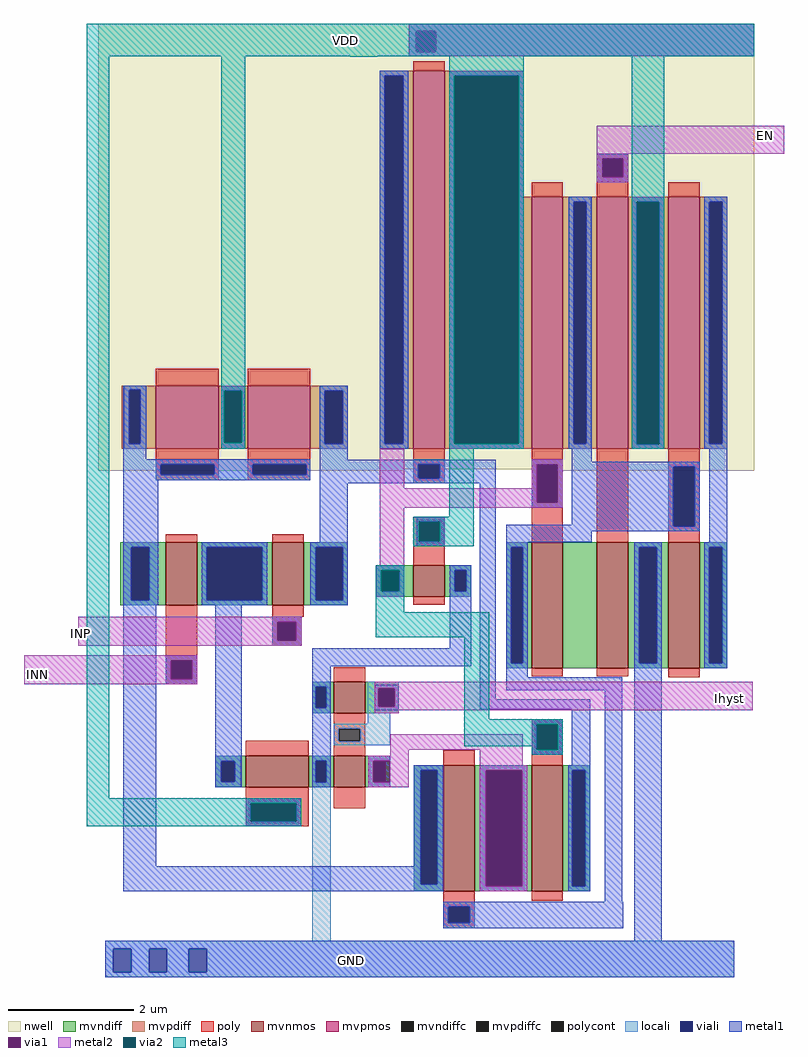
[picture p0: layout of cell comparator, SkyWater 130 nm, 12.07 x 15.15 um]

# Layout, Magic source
magic
tech sky130A
<< nwell >>
rect -243 102 799 810
rect -243 100 243 102
rect 445 100 799 102
<< mvnmos >>
rect -136 -114 -86 -14
rect 33 -114 83 -14
rect 257 -100 307 -50
rect 445 -214 495 -14
rect 549 -214 599 -14
rect 662 -214 712 -14
rect 131 -285 181 -235
rect -9 -403 91 -353
rect 131 -403 181 -353
rect 305 -568 355 -368
rect 445 -568 495 -368
<< mvpmos >>
rect -152 135 -52 235
rect -6 135 94 235
rect 257 135 307 735
rect 445 135 495 535
rect 549 135 599 535
rect 662 135 712 535
<< mvndiff >>
rect -208 -22 -136 -14
rect -208 -106 -191 -22
rect -162 -106 -136 -22
rect -208 -114 -136 -106
rect -86 -22 33 -14
rect -86 -106 -71 -22
rect 17 -106 33 -22
rect -86 -114 33 -106
rect 83 -22 153 -14
rect 83 -106 102 -22
rect 145 -106 153 -22
rect 405 -22 445 -14
rect 198 -58 257 -50
rect 198 -92 206 -58
rect 235 -92 257 -58
rect 198 -100 257 -92
rect 307 -58 349 -50
rect 307 -92 323 -58
rect 341 -92 349 -58
rect 307 -100 349 -92
rect 83 -114 153 -106
rect 405 -206 413 -22
rect 431 -206 445 -22
rect 405 -214 445 -206
rect 495 -214 549 -14
rect 599 -22 662 -14
rect 599 -206 616 -22
rect 644 -206 662 -22
rect 599 -214 662 -206
rect 712 -22 756 -14
rect 712 -206 727 -22
rect 748 -206 756 -22
rect 712 -214 756 -206
rect 97 -243 131 -235
rect 97 -277 102 -243
rect 119 -277 131 -243
rect 97 -285 131 -277
rect 181 -246 234 -235
rect 181 -275 202 -246
rect 228 -275 234 -246
rect 181 -285 234 -275
rect -57 -362 -9 -353
rect -57 -394 -48 -362
rect -26 -394 -9 -362
rect -57 -403 -9 -394
rect 91 -361 131 -353
rect 91 -395 102 -361
rect 119 -395 131 -361
rect 91 -403 131 -395
rect 181 -361 221 -353
rect 181 -395 194 -361
rect 213 -395 221 -361
rect 181 -403 221 -395
rect 258 -376 305 -368
rect 258 -557 269 -376
rect 295 -557 305 -376
rect 258 -568 305 -557
rect 355 -376 445 -368
rect 355 -560 372 -376
rect 430 -560 445 -376
rect 355 -568 445 -560
rect 495 -376 538 -368
rect 495 -560 510 -376
rect 530 -560 538 -376
rect 495 -568 538 -560
<< mvpdiff >>
rect 204 727 257 735
rect -206 228 -152 235
rect -206 143 -194 228
rect -176 143 -152 228
rect -206 135 -152 143
rect -52 227 -6 235
rect -52 144 -43 227
rect -15 144 -6 227
rect -52 135 -6 144
rect 94 227 153 235
rect 94 143 117 227
rect 145 143 153 227
rect 94 135 153 143
rect 204 143 212 727
rect 241 143 257 727
rect 204 135 257 143
rect 307 727 433 735
rect 307 143 322 727
rect 425 535 433 727
rect 425 143 445 535
rect 307 135 445 143
rect 495 527 549 535
rect 495 143 512 527
rect 532 143 549 527
rect 495 135 549 143
rect 599 527 662 535
rect 599 142 612 527
rect 648 142 662 527
rect 599 135 662 142
rect 712 527 756 535
rect 712 143 727 527
rect 748 143 756 527
rect 712 135 756 143
<< mvndiffc >>
rect -191 -106 -162 -22
rect -71 -106 17 -22
rect 102 -106 145 -22
rect 206 -92 235 -58
rect 323 -92 341 -58
rect 413 -206 431 -22
rect 616 -206 644 -22
rect 727 -206 748 -22
rect 102 -277 119 -243
rect 202 -275 228 -246
rect -48 -394 -26 -362
rect 102 -395 119 -361
rect 194 -395 213 -361
rect 269 -557 295 -376
rect 372 -560 430 -376
rect 510 -560 530 -376
<< mvpdiffc >>
rect -194 143 -176 228
rect -43 144 -15 227
rect 117 143 145 227
rect 212 143 241 727
rect 322 143 425 727
rect 512 143 532 527
rect 612 142 648 527
rect 727 143 748 527
<< poly >>
rect 257 735 307 750
rect -152 235 -52 262
rect -6 235 94 262
rect 549 596 599 603
rect 549 566 557 596
rect 591 566 599 596
rect 445 535 495 558
rect 549 535 599 566
rect 662 535 712 558
rect -152 110 -52 135
rect -152 93 -144 110
rect -59 93 -52 110
rect -152 85 -52 93
rect -6 110 94 135
rect -6 93 2 110
rect 87 93 94 110
rect -6 85 94 93
rect 257 110 307 135
rect 257 88 265 110
rect 299 88 307 110
rect 257 80 307 88
rect 445 110 495 135
rect 445 49 453 110
rect 487 49 495 110
rect 257 19 307 27
rect -136 -14 -86 -1
rect 33 -14 83 -1
rect 257 -12 266 19
rect 299 -12 307 19
rect 257 -50 307 -12
rect 445 -14 495 49
rect 549 -14 599 135
rect 662 106 712 135
rect 662 12 670 106
rect 704 12 712 106
rect 662 -14 712 12
rect 257 -113 307 -100
rect -136 -201 -86 -114
rect 33 -132 83 -114
rect 33 -140 80 -132
rect 33 -170 41 -140
rect 71 -170 80 -140
rect 33 -178 80 -170
rect -136 -231 -128 -201
rect -94 -231 -86 -201
rect -136 -239 -86 -231
rect 131 -235 181 -212
rect 445 -227 495 -214
rect 549 -227 599 -214
rect 662 -228 712 -214
rect 131 -310 181 -285
rect -9 -353 91 -329
rect 131 -330 139 -310
rect 173 -330 181 -310
rect 131 -353 181 -330
rect 445 -303 495 -295
rect 445 -343 453 -303
rect 487 -343 495 -303
rect 305 -368 355 -344
rect 445 -368 495 -343
rect -9 -428 91 -403
rect -9 -457 -1 -428
rect 71 -457 91 -428
rect 131 -436 181 -403
rect -9 -465 91 -457
rect 305 -593 355 -568
rect 445 -583 495 -568
rect 305 -618 313 -593
rect 347 -618 355 -593
rect 305 -627 355 -618
<< polycont >>
rect 557 566 591 596
rect -144 93 -59 110
rect 2 93 87 110
rect 265 88 299 110
rect 453 49 487 110
rect 266 -12 299 19
rect 670 12 704 106
rect 41 -170 71 -140
rect -128 -231 -94 -201
rect 139 -330 173 -310
rect 453 -343 487 -303
rect -1 -457 71 -428
rect 313 -618 347 -593
<< locali >>
rect 250 798 799 810
rect 250 765 262 798
rect 293 765 799 798
rect 250 758 799 765
rect 204 727 249 735
rect -202 228 -167 235
rect -202 143 -194 228
rect -176 143 -167 228
rect -202 135 -167 143
rect -48 227 -10 235
rect -48 144 -43 227
rect -15 144 -10 227
rect -48 135 -10 144
rect 109 227 153 235
rect 109 143 117 227
rect 145 143 153 227
rect 109 135 153 143
rect 204 143 212 727
rect 241 143 249 727
rect 204 135 249 143
rect 314 727 433 735
rect 314 143 322 727
rect 425 143 433 727
rect 549 596 599 603
rect 549 566 557 596
rect 591 566 599 596
rect 549 558 599 566
rect 314 135 433 143
rect 504 527 540 535
rect 504 143 512 527
rect 532 143 540 527
rect 504 135 540 143
rect 604 527 656 535
rect 604 142 612 527
rect 648 142 656 527
rect 604 135 656 142
rect 719 527 756 535
rect 719 143 727 527
rect 748 143 756 527
rect 719 135 756 143
rect -152 110 94 118
rect -152 93 -144 110
rect -59 93 2 110
rect 87 93 94 110
rect -152 85 94 93
rect 257 110 307 118
rect 257 88 265 110
rect 299 88 307 110
rect 257 80 307 88
rect 445 110 495 118
rect 445 49 453 110
rect 487 49 495 110
rect 445 41 495 49
rect 662 106 712 114
rect 257 19 307 27
rect 257 -12 266 19
rect 299 -12 307 19
rect 662 12 670 106
rect 704 12 712 106
rect 662 4 712 12
rect -203 -22 -148 -14
rect -203 -106 -191 -22
rect -162 -106 -148 -22
rect -203 -114 -148 -106
rect -79 -22 25 -14
rect -79 -106 -71 -22
rect 17 -106 25 -22
rect -79 -114 25 -106
rect 94 -22 153 -14
rect 257 -20 307 -12
rect 94 -106 102 -22
rect 145 -106 153 -22
rect 405 -22 439 -14
rect 198 -58 243 -50
rect 198 -92 206 -58
rect 235 -92 243 -58
rect 198 -100 243 -92
rect 315 -58 349 -50
rect 315 -92 323 -58
rect 341 -92 349 -58
rect 315 -100 349 -92
rect 94 -114 153 -106
rect 33 -140 80 -132
rect 33 -170 41 -140
rect 71 -170 80 -140
rect 33 -178 80 -170
rect -136 -201 -86 -193
rect -136 -231 -128 -201
rect -94 -231 -86 -201
rect 405 -206 413 -22
rect 431 -206 439 -22
rect 405 -214 439 -206
rect 608 -22 652 -14
rect 608 -206 616 -22
rect 644 -206 652 -22
rect 608 -214 652 -206
rect 719 -22 756 -14
rect 719 -206 727 -22
rect 748 -206 756 -22
rect 719 -214 756 -206
rect -136 -239 -86 -231
rect 97 -243 125 -235
rect 97 -277 102 -243
rect 119 -277 125 -243
rect 97 -285 125 -277
rect 185 -246 234 -235
rect 185 -275 202 -246
rect 228 -275 234 -246
rect 185 -285 234 -275
rect 185 -302 221 -285
rect 131 -310 221 -302
rect 131 -330 139 -310
rect 173 -330 221 -310
rect 131 -336 221 -330
rect 445 -303 495 -295
rect 445 -343 453 -303
rect 487 -343 495 -303
rect 445 -351 495 -343
rect -57 -362 -17 -353
rect -57 -394 -48 -362
rect -26 -394 -17 -362
rect -57 -403 -17 -394
rect 97 -361 126 -353
rect 97 -395 102 -361
rect 119 -395 126 -361
rect -9 -428 79 -420
rect -9 -457 -1 -428
rect 71 -457 79 -428
rect -9 -465 79 -457
rect 97 -647 126 -395
rect 186 -361 221 -353
rect 186 -395 194 -361
rect 213 -395 221 -361
rect 186 -403 221 -395
rect 258 -376 305 -368
rect 258 -557 269 -376
rect 295 -557 305 -376
rect 258 -568 305 -557
rect 363 -376 438 -368
rect 363 -560 372 -376
rect 430 -560 438 -376
rect 363 -568 438 -560
rect 503 -376 538 -368
rect 503 -560 510 -376
rect 530 -560 538 -376
rect 503 -568 538 -560
rect 305 -593 355 -585
rect 305 -618 313 -593
rect 347 -618 355 -593
rect 305 -627 355 -618
rect -232 -659 767 -647
rect -232 -697 -219 -659
rect -191 -697 -162 -659
rect -134 -697 -99 -659
rect -71 -697 767 -659
rect -232 -705 767 -697
<< viali >>
rect 262 765 293 798
rect -194 143 -176 228
rect -43 144 -15 227
rect 117 143 145 227
rect 212 143 241 727
rect 322 143 425 727
rect 557 566 591 596
rect 512 143 532 527
rect 612 142 648 527
rect 727 143 748 527
rect -144 93 -59 110
rect 2 93 87 110
rect 265 88 299 110
rect 453 49 487 110
rect 266 -12 299 19
rect 670 12 704 106
rect -191 -106 -162 -22
rect -71 -106 17 -22
rect 102 -106 145 -22
rect 206 -92 235 -58
rect 323 -92 341 -58
rect 41 -170 71 -140
rect -128 -231 -94 -201
rect 413 -206 431 -22
rect 616 -206 644 -22
rect 727 -206 748 -22
rect 102 -277 119 -243
rect 202 -275 228 -246
rect 453 -343 487 -303
rect -48 -394 -26 -362
rect 102 -395 119 -361
rect -1 -457 71 -428
rect 194 -395 213 -361
rect 269 -557 295 -376
rect 372 -560 430 -376
rect 510 -560 530 -376
rect 313 -618 347 -593
rect -219 -697 -191 -659
rect -162 -697 -134 -659
rect -99 -697 -71 -659
<< metal1 >>
rect 250 798 799 810
rect 250 765 262 798
rect 293 765 799 798
rect 250 758 799 765
rect 204 727 249 735
rect -203 228 -167 235
rect -203 143 -194 228
rect -176 143 -167 228
rect -203 118 -167 143
rect -48 227 -10 235
rect -48 144 -43 227
rect -15 144 -10 227
rect -48 135 -10 144
rect 109 227 153 235
rect 109 143 117 227
rect 145 143 153 227
rect -203 110 94 118
rect -203 93 -144 110
rect -59 93 2 110
rect 87 93 94 110
rect -203 85 94 93
rect 109 117 153 143
rect 204 143 212 727
rect 241 143 249 727
rect 204 135 249 143
rect 314 727 433 735
rect 314 143 322 727
rect 425 143 433 727
rect 549 596 599 603
rect 549 566 557 596
rect 591 566 599 596
rect 549 558 599 566
rect 314 135 433 143
rect 504 527 541 535
rect 504 143 512 527
rect 532 143 541 527
rect 504 135 541 143
rect 604 527 656 535
rect 604 142 612 527
rect 648 142 656 527
rect 604 135 656 142
rect 719 527 756 535
rect 719 143 727 527
rect 748 143 756 527
rect 719 135 756 143
rect 109 110 388 117
rect 109 88 265 110
rect 299 88 388 110
rect -203 -22 -148 85
rect 109 80 388 88
rect 109 -14 153 80
rect -203 -106 -191 -22
rect -162 -106 -148 -22
rect -203 -114 -148 -106
rect -79 -22 25 -14
rect -79 -106 -71 -22
rect 17 -106 25 -22
rect -79 -114 25 -106
rect 94 -22 153 -14
rect 263 19 307 27
rect 263 -12 266 19
rect 299 -12 307 19
rect 263 -20 307 -12
rect 94 -106 102 -22
rect 145 -106 153 -22
rect 198 -58 243 -50
rect 198 -92 206 -58
rect 235 -92 243 -58
rect 198 -100 243 -92
rect 315 -58 349 -50
rect 315 -92 323 -58
rect 341 -92 349 -58
rect 94 -114 153 -106
rect -203 -528 -151 -114
rect -136 -201 -86 -193
rect -136 -231 -128 -201
rect -94 -231 -86 -201
rect -136 -239 -86 -231
rect -57 -362 -15 -114
rect 33 -140 80 -132
rect 33 -170 41 -140
rect 71 -170 80 -140
rect 33 -178 80 -170
rect 315 -182 349 -92
rect -57 -394 -48 -362
rect -26 -394 -15 -362
rect -57 -403 -15 -394
rect 97 -211 349 -182
rect 97 -243 126 -211
rect 97 -277 102 -243
rect 119 -277 126 -243
rect 97 -361 126 -277
rect 196 -246 234 -240
rect 196 -275 202 -246
rect 228 -275 234 -246
rect 196 -281 234 -275
rect 363 -263 388 80
rect 445 110 495 118
rect 445 49 453 110
rect 487 49 495 110
rect 445 41 495 49
rect 509 114 541 135
rect 509 106 712 114
rect 509 14 670 106
rect 405 12 670 14
rect 704 12 712 106
rect 405 4 712 12
rect 405 -14 541 4
rect 727 -14 756 135
rect 405 -22 439 -14
rect 405 -206 413 -22
rect 431 -206 439 -22
rect 405 -228 439 -206
rect 608 -22 652 -14
rect 608 -206 616 -22
rect 644 -206 652 -22
rect 405 -249 589 -228
rect 363 -279 538 -263
rect 445 -303 495 -295
rect 445 -343 453 -303
rect 487 -343 495 -303
rect 445 -351 495 -343
rect 97 -395 102 -361
rect 119 -395 126 -361
rect 97 -403 126 -395
rect 186 -361 221 -353
rect 186 -395 194 -361
rect 220 -395 221 -361
rect 509 -368 538 -279
rect 186 -403 221 -395
rect 258 -376 305 -368
rect -9 -428 79 -420
rect -9 -457 -1 -428
rect 71 -457 79 -428
rect -9 -465 79 -457
rect 258 -528 269 -376
rect -203 -557 269 -528
rect 295 -557 305 -376
rect -203 -568 305 -557
rect 363 -376 438 -368
rect 363 -560 372 -376
rect 430 -560 438 -376
rect 363 -568 438 -560
rect 503 -376 538 -368
rect 503 -560 510 -376
rect 530 -560 538 -376
rect 503 -568 538 -560
rect 561 -585 589 -249
rect 305 -593 591 -585
rect 305 -618 313 -593
rect 347 -618 591 -593
rect 305 -627 591 -618
rect 608 -647 652 -206
rect 719 -22 756 -14
rect 719 -206 727 -22
rect 748 -206 756 -22
rect 719 -214 756 -206
rect -232 -659 767 -647
rect -232 -697 -219 -659
rect -191 -697 -162 -659
rect -134 -697 -99 -659
rect -71 -697 767 -659
rect -232 -705 767 -697
<< via1 >>
rect 262 765 293 798
rect -43 144 -15 227
rect 322 143 425 727
rect 557 566 591 596
rect 612 142 648 527
rect 266 -12 299 19
rect -128 -231 -94 -201
rect 41 -170 71 -140
rect 202 -275 228 -246
rect 453 49 487 110
rect 453 -343 487 -303
rect 194 -395 213 -361
rect 213 -395 220 -361
rect -1 -457 71 -428
rect 372 -560 430 -376
<< metal2 >>
rect 250 798 799 810
rect 250 765 262 798
rect 293 765 799 798
rect 250 758 799 765
rect 314 727 433 735
rect -48 227 -10 235
rect -48 144 -43 227
rect -15 144 -10 227
rect -48 135 -10 144
rect 314 143 322 727
rect 425 143 433 727
rect 549 603 846 648
rect 549 596 599 603
rect 549 566 557 596
rect 591 566 599 596
rect 549 558 599 566
rect 314 135 433 143
rect 604 527 656 535
rect 604 142 612 527
rect 648 142 656 527
rect 604 135 656 142
rect 204 72 243 135
rect 445 110 495 118
rect 445 72 453 110
rect 204 49 453 72
rect 487 49 495 110
rect 204 41 495 49
rect 204 -50 243 41
rect 257 19 307 27
rect 257 -12 266 19
rect 299 -12 307 19
rect 257 -20 307 -12
rect 198 -58 243 -50
rect 198 -92 206 -58
rect 235 -92 243 -58
rect 198 -100 243 -92
rect -275 -140 80 -132
rect -275 -170 41 -140
rect 71 -170 80 -140
rect -275 -178 80 -170
rect -361 -201 -86 -193
rect -361 -231 -128 -201
rect -94 -231 -86 -201
rect -361 -239 -86 -231
rect 196 -246 796 -235
rect 196 -275 202 -246
rect 228 -275 796 -246
rect 196 -281 796 -275
rect 196 -285 234 -281
rect 445 -303 495 -295
rect 221 -343 431 -319
rect 221 -353 250 -343
rect 186 -361 250 -353
rect 186 -395 194 -361
rect 220 -395 250 -361
rect 186 -403 250 -395
rect 363 -368 431 -343
rect 445 -343 453 -303
rect 487 -343 495 -303
rect 445 -351 495 -343
rect 363 -376 438 -368
rect -9 -428 79 -420
rect -9 -457 -1 -428
rect 71 -457 79 -428
rect -9 -465 79 -457
rect 363 -560 372 -376
rect 430 -560 438 -376
rect 363 -568 438 -560
<< via2 >>
rect -43 144 -15 227
rect 322 143 425 727
rect 612 142 648 527
rect 266 -12 299 19
rect 206 -92 235 -58
rect 453 -343 487 -303
rect -1 -457 71 -428
<< metal3 >>
rect -261 758 799 810
rect -261 -420 -226 758
rect -48 227 -10 758
rect 156 757 200 758
rect -48 144 -43 227
rect -15 144 -10 227
rect -48 135 -10 144
rect 314 727 433 758
rect 314 143 322 727
rect 425 143 433 727
rect 314 135 433 143
rect 604 527 656 758
rect 604 142 612 527
rect 648 142 656 527
rect 604 135 656 142
rect 314 27 353 135
rect 257 19 353 27
rect 257 -12 266 19
rect 299 -12 353 19
rect 257 -20 353 -12
rect 198 -58 243 -50
rect 198 -92 206 -58
rect 235 -92 243 -58
rect 198 -125 243 -92
rect 198 -165 378 -125
rect 338 -295 378 -165
rect 338 -303 495 -295
rect 338 -338 453 -303
rect 445 -343 453 -338
rect 487 -343 495 -303
rect 445 -351 495 -343
rect -261 -428 79 -420
rect -261 -457 -1 -428
rect 71 -457 79 -428
rect -261 -465 79 -457
<< labels >>
rlabel metal1 159 -678 159 -678 1 GND
rlabel metal3 150 783 150 783 1 VDD
rlabel metal2 816 632 816 632 1 EN
rlabel metal2 759 -262 759 -262 1 Ihyst
rlabel metal2 -340 -224 -340 -224 1 INN
rlabel metal2 -271 -159 -271 -159 1 INP
<< end >>
